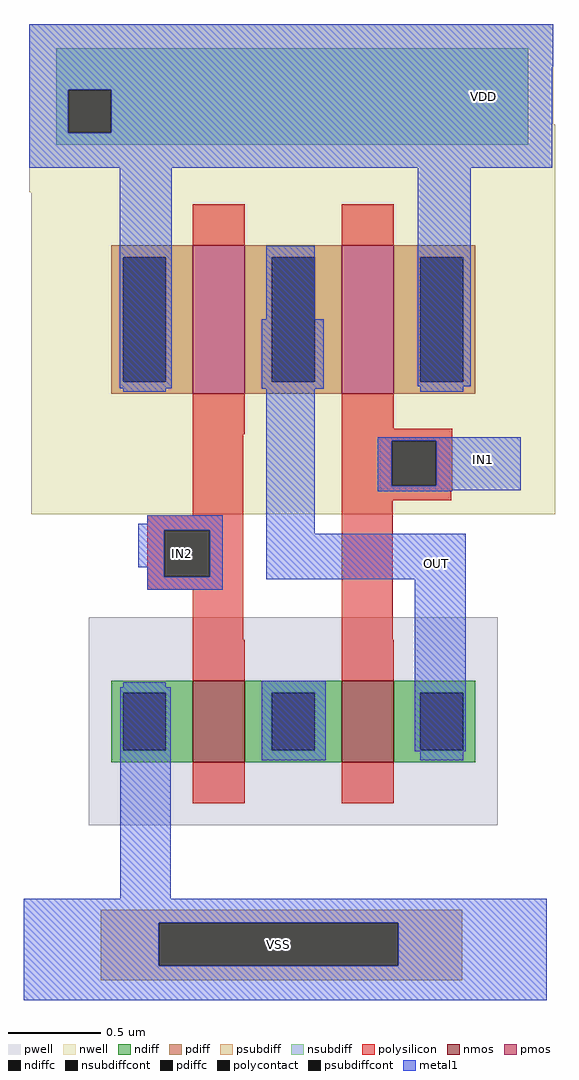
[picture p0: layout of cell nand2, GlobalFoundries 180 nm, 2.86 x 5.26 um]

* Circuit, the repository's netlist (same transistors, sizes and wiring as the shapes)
* NGSPICE file created from nand2.ext - technology: gf180mcuC

.subckt pmos_3p3_M8SWPS a_n28_n124# a_n116_n80# a_28_n80# w_n202_n210#
X0 a_28_n80# a_n28_n124# a_n116_n80# w_n202_n210# pfet_03v3 ad=0.352p pd=2.48u as=0.352p ps=2.48u w=0.8u l=0.28u
.ends

.subckt nmos_3p3_5QNVWA a_n116_n44# a_28_n44# a_n28_n88# VSUBS
X0 a_28_n44# a_n28_n88# a_n116_n44# VSUBS nfet_03v3 ad=0.194p pd=1.76u as=0.194p ps=1.76u w=0.44u l=0.28u
.ends

.subckt nand2 VDD IN2 IN1 OUT VSS
Xpmos_3p3_M8SWPS_0 IN2 OUT VDD VDD pmos_3p3_M8SWPS
Xpmos_3p3_M8SWPS_1 IN1 VDD OUT VDD pmos_3p3_M8SWPS
Xnmos_3p3_5QNVWA_0 VSS m1_186_70# IN1 VSS nmos_3p3_5QNVWA
Xnmos_3p3_5QNVWA_1 m1_186_70# OUT IN2 VSS nmos_3p3_5QNVWA
.ends

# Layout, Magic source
magic
tech gf180mcuC
magscale 1 10
<< nwell >>
rect -64 708 500 863
rect -64 682 32 708
rect 33 682 500 708
rect 191 384 243 624
<< psubdiff >>
rect 13 -105 402 -91
rect 13 -151 75 -105
rect 333 -151 402 -105
rect 13 -167 402 -151
<< nsubdiff >>
rect -35 792 473 837
rect -35 746 -22 792
rect 24 746 473 792
rect -35 733 473 746
<< psubdiffcont >>
rect 75 -151 333 -105
<< nsubdiffcont >>
rect -22 746 24 792
<< polysilicon >>
rect 311 421 391 427
rect 112 334 166 421
rect 63 318 166 334
rect 63 268 81 318
rect 130 268 166 318
rect 63 254 166 268
rect 112 200 166 254
rect 272 414 391 421
rect 272 366 326 414
rect 374 366 391 414
rect 272 360 391 366
rect 272 350 390 360
rect 272 200 327 350
<< polycontact >>
rect 81 268 130 318
rect 326 366 374 414
<< metal1 >>
rect -64 817 500 863
rect -64 792 499 817
rect -64 746 -22 792
rect 24 746 499 792
rect -64 708 499 746
rect 33 471 89 708
rect 191 545 243 624
rect 186 470 253 545
rect 354 473 411 708
rect 63 325 144 334
rect 53 318 144 325
rect 53 278 81 318
rect 63 268 81 278
rect 130 268 144 318
rect 63 254 144 268
rect 191 314 243 470
rect 311 414 465 418
rect 311 366 326 414
rect 374 366 465 414
rect 311 361 465 366
rect 311 360 391 361
rect 191 265 406 314
rect 34 -79 88 149
rect 186 70 255 156
rect 351 80 406 265
rect -70 -105 493 -79
rect -70 -151 75 -105
rect 333 -151 493 -105
rect -70 -188 493 -151
use nmos_3p3_5QNVWA  nmos_3p3_5QNVWA_0
transform 1 0 140 0 1 112
box -140 -112 140 112
use nmos_3p3_5QNVWA  nmos_3p3_5QNVWA_1
transform 1 0 300 0 1 112
box -140 -112 140 112
use pmos_3p3_M8SWPS  pmos_3p3_M8SWPS_0
transform 1 0 300 0 1 545
box -202 -210 202 210
use pmos_3p3_M8SWPS  pmos_3p3_M8SWPS_1
transform 1 0 140 0 1 545
box -202 -210 202 210
<< labels >>
flabel polycontact 101 293 101 293 0 FreeSans 480 0 0 0 IN2
port 1 nsew
flabel metal1 425 394 425 394 0 FreeSans 480 0 0 0 IN1
port 2 nsew
flabel metal1 374 282 374 282 0 FreeSans 480 0 0 0 OUT
port 3 nsew
flabel psubdiffcont 204 -128 204 -128 0 FreeSans 480 0 0 0 VSS
port 4 nsew
flabel nsubdiffcont 425 785 425 785 0 FreeSans 640 0 0 0 VDD
port 5 nsew
<< end >>

# cell nmos_3p3_5QNVWA: kit device nmos_3p3, w 0.440 l 0.280 m 1 nf 1 diffcov 100 polycov 100 guard 0 glc 0 grc 0 gtc 0 gbc 0 tbcov 100 rlcov 100 topc 0 botc 0 poverlap 0 doverlap 1 lmin 0.28 wmin 0.22 full_metal 0 compatible {nmos_3p3 nmos_6p0 nmos_6p0_nat}

# cell pmos_3p3_M8SWPS: kit device pmos_3p3, w 0.80 l 0.280 m 1 nf 1 diffcov 100 polycov 100 guard 0 glc 0 grc 0 gtc 0 gbc 0 tbcov 100 rlcov 100 topc 0 botc 0 poverlap 0 doverlap 1 lmin 0.28 wmin 0.22 full_metal 0 compatible {pmos_3p3 pmos_6p0}
